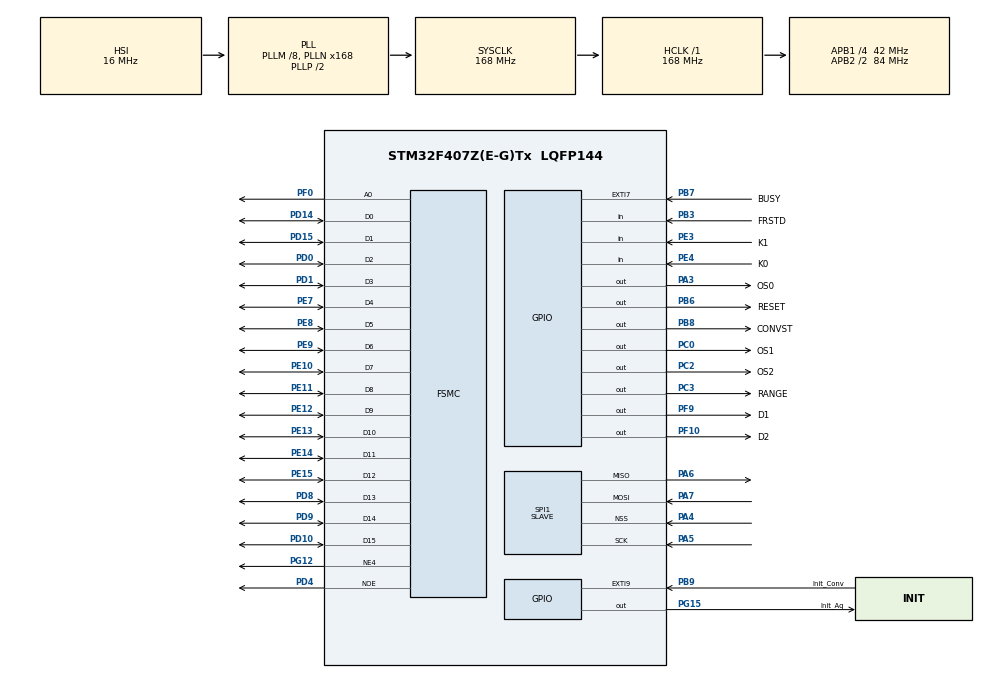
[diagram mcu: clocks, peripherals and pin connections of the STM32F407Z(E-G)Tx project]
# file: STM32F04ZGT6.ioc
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FSMC.AddressSetupTime4=4
FSMC.DataSetupTime4=15
Mcu.Family=STM32F4
Mcu.Name=STM32F407Z(E-G)Tx
Mcu.Package=LQFP144
NVIC.EXTI9_5_IRQn=true\:0\:0\:false\:false\:true\:true\:true
NVIC.PriorityGroup=NVIC_PRIORITYGROUP_4
NVIC.TIM1_UP_TIM10_IRQn=true\:0\:0\:false\:false\:true\:true\:true
PA3.GPIO_Label=OS0
PA3.Signal=GPIO_Output
PA4.Mode=NSS_Signal_Hard_Input
PA4.Signal=SPI1_NSS
PA5.Mode=Full_Duplex_Slave
PA5.Signal=SPI1_SCK
PA6.Mode=Full_Duplex_Slave
PA6.Signal=SPI1_MISO
PA7.Mode=Full_Duplex_Slave
PA7.Signal=SPI1_MOSI
PB3.GPIO_Label=FRSTD
PB3.Signal=GPIO_Input
PB6.GPIO_Label=RESET
PB6.Signal=GPIO_Output
PB7.GPIO_Label=BUSY
PB7.GPIO_ModeDefaultEXTI=GPIO_MODE_IT_FALLING
PB7.Signal=GPXTI7
PB8.GPIO_Label=CONVST
PB8.GPIO_Speed=GPIO_SPEED_FREQ_HIGH
PB8.PinState=GPIO_PIN_SET
PB8.Signal=GPIO_Output
PB9.GPIO_Label=Init_Conv
PB9.Signal=GPXTI9
PC0.GPIO_Label=OS1
PC0.Signal=GPIO_Output
PC14-OSC32_IN.Mode=LSE-External-Oscillator
PC14-OSC32_IN.Signal=RCC_OSC32_IN
PC15-OSC32_OUT.Mode=LSE-External-Oscillator
PC15-OSC32_OUT.Signal=RCC_OSC32_OUT
PC2.GPIO_Label=OS2
PC2.Signal=GPIO_Output
PC3.GPIO_Label=RANGE
PC3.Signal=GPIO_Output
PD0.Signal=FSMC_D2_DA2
PD1.Signal=FSMC_D3_DA3
PD10.Signal=FSMC_D15_DA15
PD14.Signal=FSMC_D0_DA0
PD15.Signal=FSMC_D1_DA1
PD4.Signal=FSMC_NOE
PD8.Signal=FSMC_D13_DA13
PD9.Signal=FSMC_D14_DA14
PE10.Signal=FSMC_D7_DA7
PE11.Signal=FSMC_D8_DA8
PE12.Signal=FSMC_D9_DA9
PE13.Signal=FSMC_D10_DA10
PE14.Signal=FSMC_D11_DA11
PE15.Signal=FSMC_D12_DA12
PE3.GPIO_Label=K1
PE3.Signal=GPIO_Input
PE4.GPIO_Label=K0
PE4.Signal=GPIO_Input
PE7.Signal=FSMC_D4_DA4
PE8.Signal=FSMC_D5_DA5
PE9.Signal=FSMC_D6_DA6
PF0.Signal=FSMC_A0
PF10.GPIO_Label=D2
PF10.Signal=GPIO_Output
PF9.GPIO_Label=D1
PF9.Signal=GPIO_Output
PG12.Mode=NorPsramChipSelect4_4
PG12.Signal=FSMC_NE4
PG15.GPIO_Label=Init_Aq
PG15.GPIO_Speed=GPIO_SPEED_FREQ_MEDIUM
PG15.Signal=GPIO_Output
PH0-OSC_IN.Mode=HSE-External-Oscillator
PH0-OSC_IN.Signal=RCC_OSC_IN
PH1-OSC_OUT.Mode=HSE-External-Oscillator
PH1-OSC_OUT.Signal=RCC_OSC_OUT
ProjectManager.HeapSize=0x200
ProjectManager.StackSize=0x400
ProjectManager.TargetToolchain=STM32CubeIDE
RCC.48MHZClocksFreq_Value=84000000
RCC.AHBFreq_Value=168000000
RCC.APB1CLKDivider=RCC_HCLK_DIV4
RCC.APB1Freq_Value=42000000
RCC.APB1TimFreq_Value=84000000
RCC.APB2CLKDivider=RCC_HCLK_DIV2
RCC.APB2Freq_Value=84000000
RCC.APB2TimFreq_Value=168000000
RCC.CortexFreq_Value=168000000
RCC.HCLKFreq_Value=168000000
RCC.HSE_VALUE=8000000
RCC.HSI_VALUE=16000000
RCC.PLLM=8
RCC.PLLN=168
RCC.SYSCLKFreq_VALUE=168000000
RCC.SYSCLKSource=RCC_SYSCLKSOURCE_PLLCLK
RCC.VCOOutputFreq_Value=336000000
SH.FSMC_A0.0=FSMC_A0,1b-a4
SH.FSMC_D0_DA0.0=FSMC_D0,16b-d4
SH.FSMC_D10_DA10.0=FSMC_D10,16b-d4
SH.FSMC_D11_DA11.0=FSMC_D11,16b-d4
SH.FSMC_D12_DA12.0=FSMC_D12,16b-d4
SH.FSMC_D13_DA13.0=FSMC_D13,16b-d4
SH.FSMC_D14_DA14.0=FSMC_D14,16b-d4
SH.FSMC_D15_DA15.0=FSMC_D15,16b-d4
SH.FSMC_D1_DA1.0=FSMC_D1,16b-d4
SH.FSMC_D2_DA2.0=FSMC_D2,16b-d4
SH.FSMC_D3_DA3.0=FSMC_D3,16b-d4
SH.FSMC_D4_DA4.0=FSMC_D4,16b-d4
SH.FSMC_D5_DA5.0=FSMC_D5,16b-d4
SH.FSMC_D6_DA6.0=FSMC_D6,16b-d4
SH.FSMC_D7_DA7.0=FSMC_D7,16b-d4
SH.FSMC_D8_DA8.0=FSMC_D8,16b-d4
SH.FSMC_D9_DA9.0=FSMC_D9,16b-d4
SH.FSMC_NOE.0=FSMC_NOE,Rom4
SPI1.Direction=SPI_DIRECTION_2LINES
SPI1.Mode=SPI_MODE_SLAVE
SPI1.VirtualNSS=VM_NSSHARD
SPI1.VirtualType=VM_SLAVE
TIM1.AutoReloadPreload=TIM_AUTORELOAD_PRELOAD_ENABLE
TIM1.Period=666
TIM1.Prescaler=20
TIM1.TIM_MasterOutputTrigger=TIM_TRGO_UPDATE
VP_TIM1_VS_ClockSourceINT.Mode=Internal
board=custom

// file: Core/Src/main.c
/* USER CODE BEGIN Header */
/**
  ******************************************************************************
  * @file           : main.c
  * @brief          : Main program body
  ******************************************************************************
  * @attention
  *
  * <h2><center>&copy; Copyright (c) 2021 STMicroelectronics.
  * All rights reserved.</center></h2>
  *
  * This software component is licensed by ST under BSD 3-Clause license,
  * the "License"; You may not use this file except in compliance with the
  * License. You may obtain a copy of the License at:
  *                        opensource.org/licenses/BSD-3-Clause
  *
  ******************************************************************************
  */
/* USER CODE END Header */
#include "main.h"

/* USER CODE BEGIN Includes */
#include "stdio.h"
#include "stdint.h"
#include "string.h"
#include <math.h>

/* USER CODE END Includes */

/* USER CODE BEGIN PTD */
 typedef enum
 {
   AQ_BREAK       = 0x00U,
   AQ_INIT        = 0x01U,
   AQ_ENVIA       = 0x02U,
 } Aq_StatusTypeDef;

/* USER CODE END PTD */

SPI_HandleTypeDef hspi1;

TIM_HandleTypeDef htim1;

SRAM_HandleTypeDef hsram4;

/* USER CODE BEGIN PV */
Aq_StatusTypeDef AQST;
uint16_t valor=0;
uint8_t RawData[28672];
uint8_t RawData1[28672];
float Taxa_Aq_Hz = 12000;
float Presc = 20;
float Count;   //Count= ((1/Taxa_Aq_Hz)/(1/(168000000/(Presc+1))));
int Count_Tmr1;   //Count_Tmr1 =  floorf(Count);
int i = 0;
int j=0;
int w=0;
int z=0;

/* USER CODE END PV */

void SystemClock_Config(void);
static void MX_GPIO_Init(void);
static void MX_FSMC_Init(void);
static void MX_SPI1_Init(void);
static void MX_TIM1_Init(void);
/* USER CODE BEGIN PFP */
void AD7606_Reset(void);
void AD7606_StartConvst(void);
void AD7606_SetOS(void);
void AD7606_SetInputRange(void);

/* USER CODE END PFP */

int main(void)
{
  /* USER CODE BEGIN 1 */
	Count_Tmr1 =  floorf(Count= ((1/Taxa_Aq_Hz)/(1/(168000000/(Presc+1)))));

  /* USER CODE END 1 */

  /* MCU Configuration--------------------------------------------------------*/

  /* Reset of all peripherals, Initializes the Flash interface and the Systick. */
  HAL_Init();

  /* Configure the system clock */
  SystemClock_Config();

  /* Initialize all configured peripherals */
  MX_GPIO_Init();
  MX_FSMC_Init();
  MX_SPI1_Init();
  MX_TIM1_Init();
  /* USER CODE BEGIN 2 */
  //HAL_TIM_Base_Start_IT(&htim1);
  //HAL_TIM_Base_Start_ITBREAK(&htim1);
   AD7606_Reset();
   AD7606_SetOS();
   AD7606_SetInputRange();
   AQST= AQ_BREAK;

	HAL_GPIO_WritePin(GPIOF, D1_Pin, GPIO_PIN_SET);
	HAL_GPIO_WritePin(GPIOF, D2_Pin, GPIO_PIN_SET);

  /* USER CODE END 2 */

  /* Infinite loop */
  /* USER CODE BEGIN WHILE */
  while (1)
  {

	  if(AQST == AQ_INIT)
	  {
		  HAL_GPIO_WritePin(GPIOF, D1_Pin, GPIO_PIN_RESET);

			HAL_SRAM_Read_16b(&hsram4,(uint32_t *) 0x6C000000, &valor, 1);
			RawData[i]=((valor>>8) & 255);
			RawData[i+1]=(valor & 255);
			//RawData[i]=1;
			//RawData[i+1]=2;

			HAL_SRAM_Read_16b(&hsram4,(uint32_t *) 0x6C000000, &valor, 1);
			RawData[i+2]=((valor>>8) & 255);
			RawData[i+3]=(valor & 255);
			//RawData[i+2]=3;
			//RawData[i+3]=4;

			HAL_SRAM_Read_16b(&hsram4,(uint32_t *) 0x6C000000, &valor, 1);
			RawData[i+4]=((valor>>8) & 255);
			RawData[i+5]=(valor & 255);
			//RawData[i+4]=5;
			//RawData[i+5]=6;

			HAL_SRAM_Read_16b(&hsram4,(uint32_t *) 0x6C000000, &valor, 1);
			RawData[i+6]=((valor>>8) & 255);
			RawData[i+7]=(valor & 255);
			//RawData[i+6]=7;
			//RawData[i+7]=8;

			HAL_SRAM_Read_16b(&hsram4,(uint32_t *) 0x6C000000, &valor, 1);
			RawData[i+8]=((valor>>8) & 255);
			RawData[i+9]=(valor & 255);
			//RawData[i+8]=9;
			//RawData[i+9]=10;

			HAL_SRAM_Read_16b(&hsram4,(uint32_t *) 0x6C000000, &valor, 1);
			RawData[i+10]=((valor>>8) & 255);
			RawData[i+11]=(valor & 255);
			//RawData[i+10]=11;
			//RawData[i+11]=12;

			HAL_SRAM_Read_16b(&hsram4,(uint32_t *) 0x6C000000, &valor, 1);
			RawData[i+12]=((valor>>8) & 255);
			RawData[i+13]=(valor & 255);
			//RawData[i+12]=13;
			//RawData[i+13]=14;

			HAL_SRAM_Read_16b(&hsram4,(uint32_t *) 0x6C000000, &valor, 1);
			RawData[i+14]=((valor>>8) & 255);
			RawData[i+15]=(valor & 255);
			//RawData[i+14]=15;
			//RawData[i+15]=16;
			i=i+16;
			w=w+1;
			AQST= AQ_BREAK;

			if(w>1791)
			{

				HAL_TIM_Base_Stop_IT(&htim1);
				HAL_GPIO_WritePin(GPIOF, D1_Pin, GPIO_PIN_SET);
				//for(j=0;j<28672;j++)
				//{
					//RawData1[j]= RawData[j];
				//}
				AQST= AQ_ENVIA;
			}

	  }
	  else if(AQST== AQ_ENVIA)
	  {
			HAL_GPIO_WritePin(GPIOF, D2_Pin, GPIO_PIN_RESET);

		  HAL_GPIO_WritePin(GPIOG, Init_Aq_Pin, GPIO_PIN_SET);
		 // if(HAL_GPIO_ReadPin(GPIOB, Init_Conv_Pin) == GPIO_PIN_SET)
		 // {
		  //while (HAL_GPIO_ReadPin(GPIOB, Init_Conv_Pin) == GPIO_PIN_SET)
		 //{
			  HAL_SPI_Transmit(&hspi1, RawData, 28672, 2000);
		 //}

			  HAL_GPIO_WritePin(GPIOG, Init_Aq_Pin, GPIO_PIN_RESET);

		 // }

		  i=0;
		  w=0;
		 // HAL_TIM_Base_Start_IT(&htim1);
		  // HAL_GPIO_WritePin(GPIOF, D1_Pin, GPIO_PIN_SET);

			HAL_GPIO_WritePin(GPIOF, D2_Pin, GPIO_PIN_SET);

		  AQST= AQ_BREAK;
	  }
    /* USER CODE END WHILE */

  }
}

void SystemClock_Config(void)
{
  RCC_OscInitTypeDef RCC_OscInitStruct = {0};
  RCC_ClkInitTypeDef RCC_ClkInitStruct = {0};

  /** Configure the main internal regulator output voltage
  */
  __HAL_RCC_PWR_CLK_ENABLE();
  __HAL_PWR_VOLTAGESCALING_CONFIG(PWR_REGULATOR_VOLTAGE_SCALE1);
  /** Initializes the RCC Oscillators according to the specified parameters
  * in the RCC_OscInitTypeDef structure.
  */
  RCC_OscInitStruct.OscillatorType = RCC_OSCILLATORTYPE_HSI;
  RCC_OscInitStruct.HSIState = RCC_HSI_ON;
  RCC_OscInitStruct.HSICalibrationValue = RCC_HSICALIBRATION_DEFAULT;
  RCC_OscInitStruct.PLL.PLLState = RCC_PLL_ON;
  RCC_OscInitStruct.PLL.PLLSource = RCC_PLLSOURCE_HSI;
  RCC_OscInitStruct.PLL.PLLM = 8;
  RCC_OscInitStruct.PLL.PLLN = 168;
  RCC_OscInitStruct.PLL.PLLP = RCC_PLLP_DIV2;
  RCC_OscInitStruct.PLL.PLLQ = 4;
  if (HAL_RCC_OscConfig(&RCC_OscInitStruct) != HAL_OK)
  {
    Error_Handler();
  }
  /** Initializes the CPU, AHB and APB buses clocks
  */
  RCC_ClkInitStruct.ClockType = RCC_CLOCKTYPE_HCLK|RCC_CLOCKTYPE_SYSCLK
                              |RCC_CLOCKTYPE_PCLK1|RCC_CLOCKTYPE_PCLK2;
  RCC_ClkInitStruct.SYSCLKSource = RCC_SYSCLKSOURCE_PLLCLK;
  RCC_ClkInitStruct.AHBCLKDivider = RCC_SYSCLK_DIV1;
  RCC_ClkInitStruct.APB1CLKDivider = RCC_HCLK_DIV4;
  RCC_ClkInitStruct.APB2CLKDivider = RCC_HCLK_DIV2;

  if (HAL_RCC_ClockConfig(&RCC_ClkInitStruct, FLASH_LATENCY_5) != HAL_OK)
  {
    Error_Handler();
  }
}

static void MX_SPI1_Init(void)
{

  /* SPI1 parameter configuration*/
  hspi1.Instance = SPI1;
  hspi1.Init.Mode = SPI_MODE_SLAVE;
  hspi1.Init.Direction = SPI_DIRECTION_2LINES;
  hspi1.Init.DataSize = SPI_DATASIZE_8BIT;
  hspi1.Init.CLKPolarity = SPI_POLARITY_LOW;
  hspi1.Init.CLKPhase = SPI_PHASE_1EDGE;
  hspi1.Init.NSS = SPI_NSS_HARD_INPUT;
  hspi1.Init.FirstBit = SPI_FIRSTBIT_MSB;
  hspi1.Init.TIMode = SPI_TIMODE_DISABLE;
  hspi1.Init.CRCCalculation = SPI_CRCCALCULATION_DISABLE;
  hspi1.Init.CRCPolynomial = 10;
  if (HAL_SPI_Init(&hspi1) != HAL_OK)
  {
    Error_Handler();
  }

}

static void MX_TIM1_Init(void)
{

  TIM_ClockConfigTypeDef sClockSourceConfig = {0};
  TIM_MasterConfigTypeDef sMasterConfig = {0};

  htim1.Instance = TIM1;
  htim1.Init.Prescaler = 20;
  htim1.Init.CounterMode = TIM_COUNTERMODE_UP;
  htim1.Init.Period = 666;
  htim1.Init.ClockDivision = TIM_CLOCKDIVISION_DIV1;
  htim1.Init.RepetitionCounter = 0;
  htim1.Init.AutoReloadPreload = TIM_AUTORELOAD_PRELOAD_ENABLE;
  if (HAL_TIM_Base_Init(&htim1) != HAL_OK)
  {
    Error_Handler();
  }
  sClockSourceConfig.ClockSource = TIM_CLOCKSOURCE_INTERNAL;
  if (HAL_TIM_ConfigClockSource(&htim1, &sClockSourceConfig) != HAL_OK)
  {
    Error_Handler();
  }
  sMasterConfig.MasterOutputTrigger = TIM_TRGO_UPDATE;
  sMasterConfig.MasterSlaveMode = TIM_MASTERSLAVEMODE_DISABLE;
  if (HAL_TIMEx_MasterConfigSynchronization(&htim1, &sMasterConfig) != HAL_OK)
  {
    Error_Handler();
  }

}

static void MX_GPIO_Init(void)
{
  GPIO_InitTypeDef GPIO_InitStruct = {0};

  /* GPIO Ports Clock Enable */
  __HAL_RCC_GPIOE_CLK_ENABLE();
  __HAL_RCC_GPIOC_CLK_ENABLE();
  __HAL_RCC_GPIOF_CLK_ENABLE();
  __HAL_RCC_GPIOH_CLK_ENABLE();
  __HAL_RCC_GPIOA_CLK_ENABLE();
  __HAL_RCC_GPIOD_CLK_ENABLE();
  __HAL_RCC_GPIOG_CLK_ENABLE();
  __HAL_RCC_GPIOB_CLK_ENABLE();

  /*Configure GPIO pin Output Level */
  HAL_GPIO_WritePin(GPIOF, D1_Pin|D2_Pin, GPIO_PIN_RESET);

  /*Configure GPIO pin Output Level */
  HAL_GPIO_WritePin(GPIOC, OS1_Pin|OS2_Pin|RANGE_Pin, GPIO_PIN_RESET);

  /*Configure GPIO pin Output Level */
  HAL_GPIO_WritePin(OS0_GPIO_Port, OS0_Pin, GPIO_PIN_RESET);

  /*Configure GPIO pin Output Level */
  HAL_GPIO_WritePin(Init_Aq_GPIO_Port, Init_Aq_Pin, GPIO_PIN_RESET);

  /*Configure GPIO pin Output Level */
  HAL_GPIO_WritePin(RESET_GPIO_Port, RESET_Pin, GPIO_PIN_RESET);

  /*Configure GPIO pin Output Level */
  HAL_GPIO_WritePin(CONVST_GPIO_Port, CONVST_Pin, GPIO_PIN_SET);

  /*Configure GPIO pins : K1_Pin K0_Pin */
  GPIO_InitStruct.Pin = K1_Pin|K0_Pin;
  GPIO_InitStruct.Mode = GPIO_MODE_INPUT;
  GPIO_InitStruct.Pull = GPIO_NOPULL;
  HAL_GPIO_Init(GPIOE, &GPIO_InitStruct);

  /*Configure GPIO pins : D1_Pin D2_Pin */
  GPIO_InitStruct.Pin = D1_Pin|D2_Pin;
  GPIO_InitStruct.Mode = GPIO_MODE_OUTPUT_PP;
  GPIO_InitStruct.Pull = GPIO_NOPULL;
  GPIO_InitStruct.Speed = GPIO_SPEED_FREQ_LOW;
  HAL_GPIO_Init(GPIOF, &GPIO_InitStruct);

  /*Configure GPIO pins : OS1_Pin OS2_Pin RANGE_Pin */
  GPIO_InitStruct.Pin = OS1_Pin|OS2_Pin|RANGE_Pin;
  GPIO_InitStruct.Mode = GPIO_MODE_OUTPUT_PP;
  GPIO_InitStruct.Pull = GPIO_NOPULL;
  GPIO_InitStruct.Speed = GPIO_SPEED_FREQ_LOW;
  HAL_GPIO_Init(GPIOC, &GPIO_InitStruct);

  /*Configure GPIO pin : OS0_Pin */
  GPIO_InitStruct.Pin = OS0_Pin;
  GPIO_InitStruct.Mode = GPIO_MODE_OUTPUT_PP;
  GPIO_InitStruct.Pull = GPIO_NOPULL;
  GPIO_InitStruct.Speed = GPIO_SPEED_FREQ_LOW;
  HAL_GPIO_Init(OS0_GPIO_Port, &GPIO_InitStruct);

  /*Configure GPIO pin : Init_Aq_Pin */
  GPIO_InitStruct.Pin = Init_Aq_Pin;
  GPIO_InitStruct.Mode = GPIO_MODE_OUTPUT_PP;
  GPIO_InitStruct.Pull = GPIO_NOPULL;
  GPIO_InitStruct.Speed = GPIO_SPEED_FREQ_MEDIUM;
  HAL_GPIO_Init(Init_Aq_GPIO_Port, &GPIO_InitStruct);

  /*Configure GPIO pin : FRSTD_Pin */
  GPIO_InitStruct.Pin = FRSTD_Pin;
  GPIO_InitStruct.Mode = GPIO_MODE_INPUT;
  GPIO_InitStruct.Pull = GPIO_NOPULL;
  HAL_GPIO_Init(FRSTD_GPIO_Port, &GPIO_InitStruct);

  /*Configure GPIO pin : RESET_Pin */
  GPIO_InitStruct.Pin = RESET_Pin;
  GPIO_InitStruct.Mode = GPIO_MODE_OUTPUT_PP;
  GPIO_InitStruct.Pull = GPIO_NOPULL;
  GPIO_InitStruct.Speed = GPIO_SPEED_FREQ_LOW;
  HAL_GPIO_Init(RESET_GPIO_Port, &GPIO_InitStruct);

  /*Configure GPIO pin : BUSY_Pin */
  GPIO_InitStruct.Pin = BUSY_Pin;
  GPIO_InitStruct.Mode = GPIO_MODE_IT_FALLING;
  GPIO_InitStruct.Pull = GPIO_NOPULL;
  HAL_GPIO_Init(BUSY_GPIO_Port, &GPIO_InitStruct);

  /*Configure GPIO pin : CONVST_Pin */
  GPIO_InitStruct.Pin = CONVST_Pin;
  GPIO_InitStruct.Mode = GPIO_MODE_OUTPUT_PP;
  GPIO_InitStruct.Pull = GPIO_NOPULL;
  GPIO_InitStruct.Speed = GPIO_SPEED_FREQ_HIGH;
  HAL_GPIO_Init(CONVST_GPIO_Port, &GPIO_InitStruct);

  /*Configure GPIO pin : Init_Conv_Pin */
  GPIO_InitStruct.Pin = Init_Conv_Pin;
  GPIO_InitStruct.Mode = GPIO_MODE_IT_RISING;
  GPIO_InitStruct.Pull = GPIO_NOPULL;
  HAL_GPIO_Init(Init_Conv_GPIO_Port, &GPIO_InitStruct);

  /* EXTI interrupt init*/
  HAL_NVIC_SetPriority(EXTI9_5_IRQn, 0, 0);
  HAL_NVIC_EnableIRQ(EXTI9_5_IRQn);

}

/* FSMC initialization function */
static void MX_FSMC_Init(void)
{

  FSMC_NORSRAM_TimingTypeDef Timing = {0};

  /** Perform the SRAM4 memory initialization sequence
  */
  hsram4.Instance = FSMC_NORSRAM_DEVICE;
  hsram4.Extended = FSMC_NORSRAM_EXTENDED_DEVICE;
  /* hsram4.Init */
  hsram4.Init.NSBank = FSMC_NORSRAM_BANK4;
  hsram4.Init.DataAddressMux = FSMC_DATA_ADDRESS_MUX_DISABLE;
  hsram4.Init.MemoryType = FSMC_MEMORY_TYPE_SRAM;
  hsram4.Init.MemoryDataWidth = FSMC_NORSRAM_MEM_BUS_WIDTH_16;
  hsram4.Init.BurstAccessMode = FSMC_BURST_ACCESS_MODE_DISABLE;
  hsram4.Init.WaitSignalPolarity = FSMC_WAIT_SIGNAL_POLARITY_LOW;
  hsram4.Init.WrapMode = FSMC_WRAP_MODE_DISABLE;
  hsram4.Init.WaitSignalActive = FSMC_WAIT_TIMING_BEFORE_WS;
  hsram4.Init.WriteOperation = FSMC_WRITE_OPERATION_DISABLE;
  hsram4.Init.WaitSignal = FSMC_WAIT_SIGNAL_DISABLE;
  hsram4.Init.ExtendedMode = FSMC_EXTENDED_MODE_DISABLE;
  hsram4.Init.AsynchronousWait = FSMC_ASYNCHRONOUS_WAIT_DISABLE;
  hsram4.Init.WriteBurst = FSMC_WRITE_BURST_DISABLE;
  hsram4.Init.PageSize = FSMC_PAGE_SIZE_NONE;
  /* Timing */
  Timing.AddressSetupTime = 4;
  Timing.AddressHoldTime = 15;
  Timing.DataSetupTime = 15;
  Timing.BusTurnAroundDuration = 15;
  Timing.CLKDivision = 16;
  Timing.DataLatency = 17;
  Timing.AccessMode = FSMC_ACCESS_MODE_A;
  /* ExtTiming */

  if (HAL_SRAM_Init(&hsram4, &Timing, NULL) != HAL_OK)
  {
    Error_Handler( );
  }

}

/* USER CODE BEGIN 4 */
void AD7606_Reset(void)
{
	HAL_GPIO_WritePin(GPIOB, RESET_Pin, 0);
	HAL_GPIO_WritePin(GPIOB, RESET_Pin, 1);
	HAL_GPIO_WritePin(GPIOB, RESET_Pin, 1);
	HAL_GPIO_WritePin(GPIOB, RESET_Pin, 1);
	HAL_GPIO_WritePin(GPIOB, RESET_Pin, 0);
}

void AD7606_StartConvst(void)
{

	HAL_GPIO_WritePin(GPIOB, CONVST_Pin, 0);
	HAL_GPIO_WritePin(GPIOB, CONVST_Pin, 0);
	HAL_GPIO_WritePin(GPIOB, CONVST_Pin, 1);

}

void AD7606_SetOS(void)
{
	HAL_GPIO_WritePin(GPIOA, OS0_Pin, 0);
	HAL_GPIO_WritePin(GPIOC, OS1_Pin, 0);
	HAL_GPIO_WritePin(GPIOC, OS2_Pin, 0);

}

void AD7606_SetInputRange(void)
{

	HAL_GPIO_WritePin(GPIOC, RANGE_Pin, 1);

}

void HAL_GPIO_EXTI_Callback(uint16_t GPIO_Pin)
{
  if(GPIO_Pin == BUSY_Pin)

  {
	  AQST= AQ_INIT;
  }
  if(GPIO_Pin == Init_Conv_Pin)
  {

	  HAL_TIM_Base_Start_IT(&htim1);

  }

}

void HAL_TIM_PeriodElapsedCallback(TIM_HandleTypeDef *htim)
{

  if (htim->Instance == TIM1) {

		AD7606_StartConvst();

    }

}

/* USER CODE END 4 */

void Error_Handler(void)
{
  __disable_irq();
  while (1)
  {
  }
}

/************************ (C) COPYRIGHT STMicroelectronics *****END OF FILE****/
